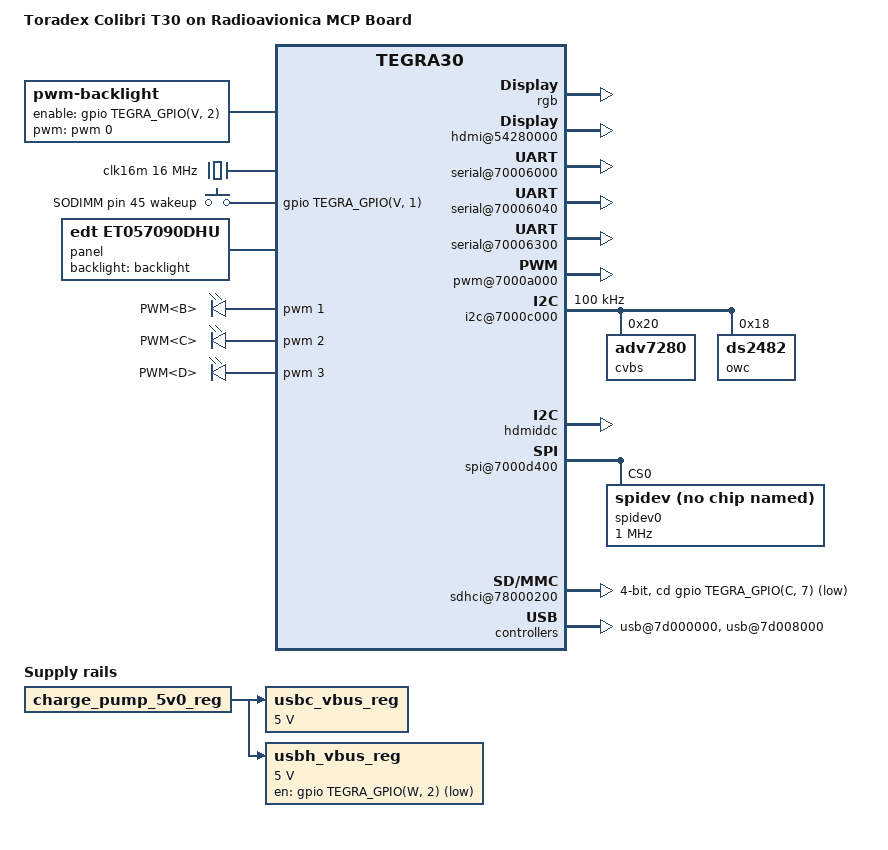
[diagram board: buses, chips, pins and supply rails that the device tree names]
/dts-v1/;

#include "tegra30-colibri.dtsi"

/ {
	model = "Toradex Colibri T30 on Radioavionica MCP Board";
	compatible = "toradex,colibri_t30-eval-v3", "toradex,colibri_t30", "nvidia,tegra30";

	aliases {
		rtc0 = "/rtc@7000e000";
		rtc1 = "/i2c@7000d000/tps65911@2d";
		serial0 = &uarta;
		serial1 = &uartb;
		serial2 = &uartd;
	};

	chosen {
		/* stdout-path = "serial0:115200n8"; */
	};

	host1x@50000000 {
		dc@54200000 {
			rgb {
				status = "okay";
				nvidia,panel = <&panel>;
			};
		};
		hdmi@54280000 {
			status = "okay";
		};
	};

	serial@70006000 {
		status = "okay";
	};

	serial@70006040 {
		compatible = "nvidia,tegra30-hsuart";
		status = "okay";
	};

	serial@70006300 {
		compatible = "nvidia,tegra30-hsuart";
		status = "okay";
	};

	pwm@7000a000 {
		status = "okay";
	};

	/*
	 * GEN1_I2C: I2C_SDA/SCL on SODIMM pin 194/196 (e.g. RTC on carrier
	 * board)
	 */
	i2c@7000c000 {
		status = "okay";
		clock-frequency = <100000>;

		/* Composite video capture interface */
		cvbs: adv7280@20 {
			status = "okay";
			compatible = "adv7280", "adi,adv7280";
			reg = <0x20>;
			/* FixMe: may be swapped powerdown and reset pins
			reset-gpios = <&gpio2 9 GPIO_ACTIVE_HIGH>;
			powerdown-gpios = <&gpio1 1 GPIO_ACTIVE_HIGH>; */
		};

		/* DS2484: I2C to OneWire Converter */
		owc: ds2482@18 {
			status = "okay";
			compatible = "ds2482";
			reg = <0x18>;
		};

	};

	/* DDC_CLOCK/DATA on X3 pin 15/16 (e.g. display EDID) */
	hdmiddc: i2c@7000c700 {
		status = "okay";
	};

	/* SPI1: Colibri SSP */
	spi@7000d400 {
		status = "okay";
		spi-max-frequency = <25000000>;

		spidev0: spi@0 {
			reg = <0>;
			compatible = "spidev";
			spi-max-frequency = <1000000>;
			status = "okay";
		};
	};

	/* SD/MMC */
	sdhci@78000200 {
		status = "okay";
		bus-width = <4>;
		cd-gpios = <&gpio TEGRA_GPIO(C, 7) GPIO_ACTIVE_LOW>;
		no-1-8-v;
	};

	/* EHCI instance 0: USB1_DP/N -> USBC_P/N */
	usb@7d000000 {
		status = "okay";
	};

	usb-phy@7d000000 {
		status = "okay";
		dr_mode = "otg";
		vbus-supply = <&usbc_vbus_reg>;
	};

	/* EHCI instance 2: USB3_DP/N -> USBH_P/N */
	usb@7d008000 {
		status = "okay";
	};

	usb-phy@7d008000 {
		status = "okay";
		vbus-supply = <&usbh_vbus_reg>;
	};

	backlight: backlight {
		compatible = "pwm-backlight";

		/* PWM<A> */
		pwms = <&pwm 0 5000000>;
		brightness-levels = <255 128 64 32 16 8 4 0>;
		default-brightness-level = <6>;
		/* BL_ON */
		enable-gpios = <&gpio TEGRA_GPIO(V, 2) GPIO_ACTIVE_HIGH>;
	};

	clocks {
		clk16m: clk@1 {
			compatible = "fixed-clock";
			reg = <1>;
			#clock-cells = <0>;
			clock-frequency = <16000000>;
			clock-output-names = "clk16m";
		};
	};

	gpio-keys {
		compatible = "gpio-keys";

		wakeup {
			label = "SODIMM pin 45 wakeup";
			gpios = <&gpio TEGRA_GPIO(V, 1) GPIO_ACTIVE_HIGH>;
			linux,code = <KEY_WAKEUP>;
			debounce-interval = <10>;
			wakeup-source;
		};
	};

	panel: panel {
		/*
		 * edt,et057090dhu: EDT 5.7" LCD TFT
		 * edt,et070080dh6: EDT 7.0" LCD TFT
		 */
		compatible = "edt,et057090dhu", "simple-panel";

		backlight = <&backlight>;
	};

	pwmleds {
		compatible = "pwm-leds";

		pwmb {
			label = "PWM<B>";
			pwms = <&pwm 1 19600>;
			max-brightness = <255>;
		};
		pwmc {
			label = "PWM<C>";
			pwms = <&pwm 2 19600>;
			max-brightness = <255>;
		};
		pwmd {
			label = "PWM<D>";
			pwms = <&pwm 3 19600>;
			max-brightness = <255>;
		};
	};

	regulators {
		usbc_vbus_reg: regulator@1 {
			compatible = "regulator-fixed";
			reg = <1>;
			regulator-name = "usbc_vbus";
			regulator-min-microvolt = <5000000>;
			regulator-max-microvolt = <5000000>;
			vin-supply = <&charge_pump_5v0_reg>;
		};
		/* USBH_PEN */
		usbh_vbus_reg: regulator@2 {
			compatible = "regulator-fixed";
			reg = <2>;
			regulator-name = "usbh_vbus";
			regulator-min-microvolt = <5000000>;
			regulator-max-microvolt = <5000000>;
			gpio = <&gpio TEGRA_GPIO(W, 2) GPIO_ACTIVE_LOW>;
			vin-supply = <&charge_pump_5v0_reg>;
		};
	};
};
